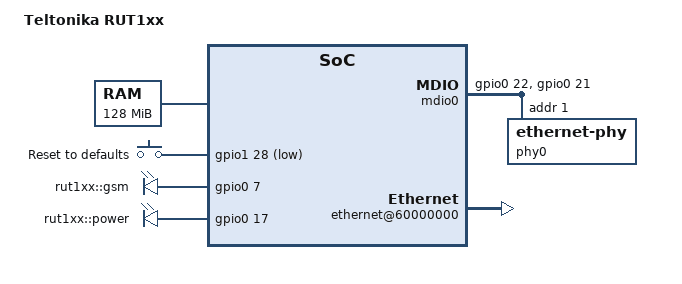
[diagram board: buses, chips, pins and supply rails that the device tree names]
// SPDX-License-Identifier: GPL-2.0
/*
 * Device Tree file for Teltonika RUT1xx
 */

/dts-v1/;

#include "gemini.dtsi"
#include <dt-bindings/input/input.h>

/ {
	model = "Teltonika RUT1xx";
	compatible = "teltonika,rut1xx", "cortina,gemini";
	#address-cells = <1>;
	#size-cells = <1>;

	memory { /* 128 MB */
		device_type = "memory";
		reg = <0x00000000 0x8000000>;
	};

	chosen {
		bootargs = "console=ttyS0,115200n8";
		stdout-path = &uart0;
	};

	gpio_keys {
		compatible = "gpio-keys";
		#address-cells = <1>;
		#size-cells = <0>;

		button@28 {
			debounce_interval = <50>;
			wakeup-source;
			linux,code = <KEY_SETUP>;
			label = "Reset to defaults";
			/* Conflict with TVC */
			gpios = <&gpio1 28 GPIO_ACTIVE_LOW>;
		};
	};

	leds {
		compatible = "gpio-leds";
		led@7 {
			/* FIXME: add the LED color */
			label = "rut1xx::gsm";
			/* Conflict with ICE */
			gpios = <&gpio0 7 GPIO_ACTIVE_HIGH>;
			default-state = "on";
		};
		led@31 {
			/* FIXME: add the LED color */
			label = "rut1xx::power";
			/* Conflict with NAND CE0 */
			gpios = <&gpio0 17 GPIO_ACTIVE_HIGH>;
			default-state = "off";
			linux,default-trigger = "heartbeat";
		};
	};

	mdio0: ethernet-phy {
		compatible = "virtual,mdio-gpio";
		gpios = <&gpio0 22 GPIO_ACTIVE_HIGH>, /* MDC */
			<&gpio0 21 GPIO_ACTIVE_HIGH>; /* MDIO */
		#address-cells = <1>;
		#size-cells = <0>;

		phy0: ethernet-phy@1 {
			reg = <1>;
			device_type = "ethernet-phy";
		};
	};

	soc {
		flash@30000000 {
			status = "okay";
			/* 8MB of flash */
			reg = <0x30000000 0x00800000>;
			/* TODO: add flash partitions here */
		};

		syscon: syscon@40000000 {
			pinctrl {
				/*
				 * gpio0bgrp cover line 7 used by GSM LED
				 * gpio0fgrp cover line 17 used by power LED
				 */
				gpio0_default_pins: pinctrl-gpio0 {
					mux {
						function = "gpio0";
						groups = "gpio0bgrp",
						"gpio0fgrp";
					};
				};
				/*
				 * gpio1dgrp cover line 28-31 otherwise used
				 * by TVC.
				 */
				gpio1_default_pins: pinctrl-gpio1 {
					mux {
						function = "gpio1";
						groups = "gpio1dgrp";
					};
				};
			};
		};

		gpio0: gpio@4d000000 {
			pinctrl-names = "default";
			pinctrl-0 = <&gpio0_default_pins>;
		};

		gpio1: gpio@4e000000 {
			pinctrl-names = "default";
			pinctrl-0 = <&gpio1_default_pins>;
		};

		ethernet@60000000 {
			status = "okay";

			ethernet-port@0 {
				phy-mode = "rgmii";
				phy-handle = <&phy0>;
			};
			ethernet-port@1 {
				/* Not used in this platform */
			};
		};
	};
};
